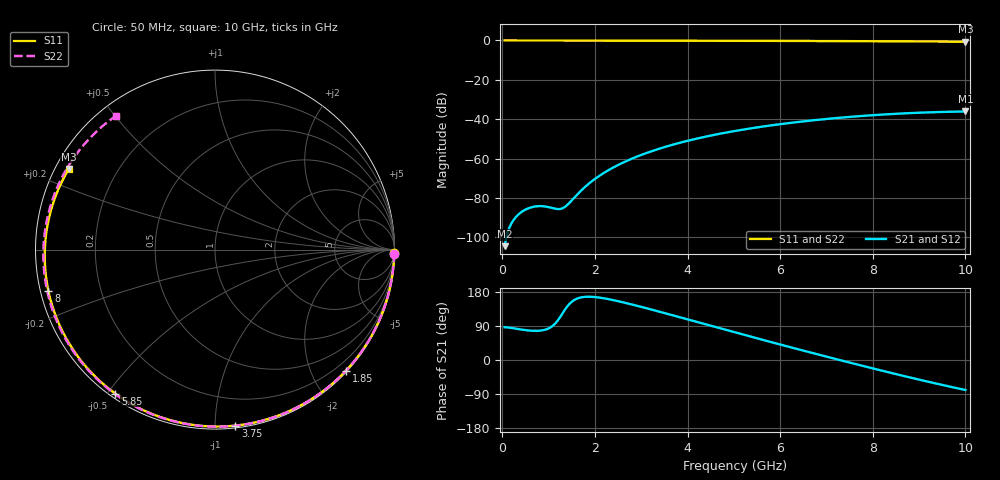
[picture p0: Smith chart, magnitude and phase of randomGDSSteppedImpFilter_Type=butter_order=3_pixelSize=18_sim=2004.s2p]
! freq	dB(S11)	phase(S11)	dB(S12)	phase(S12)
!  dB(S21)	phase(S21)	dB(S22)	phase(S22)
!S-par simulation data
#  GHz  S  DB  R 50
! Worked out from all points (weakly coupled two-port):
!   200 points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, 50 MHz to 10 GHz, reference 50 ohm
!   highest |S21| = -36.05 dB at 10 GHz (marker M1); lowest = -104.4 dB at 50 MHz (marker M2)
!   lowest |S11| = -0.6 dB at 10 GHz (marker M3), VSWR 27.70, Z = 1.93 + j12.9 ohm
!   |S11| at or under -10 dB: nowhere
!   |S22| runs from -0.7 to 0.0 dB; largest |S21 - S12| = 0
!   S11 on the Smith chart (normalised r, x): 50 MHz: open; 1.85 GHz: 0.02, -2.56; 3.75 GHz: 0.01, -1.12; 5.85 GHz: 0.02, -0.52; 8 GHz: 0.02, -0.12; 10 GHz: 0.04, +0.26
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0.05  -0.00 -1.1  -104.44 86.5  -104.44 86.5  -0.00 -1.3
0.75  -0.02 -17.5  -84.18 77.0  -84.18 77.0  -0.03 -19.9
1.15  -0.03 -26.8  -85.44 97.3  -85.44 97.3  -0.04 -30.3
1.55  -0.05 -35.9  -79.91 158.0  -79.91 158.0  -0.05 -40.6
1.75  -0.05 -40.4  -75.15 166.2  -75.15 166.2  -0.06 -45.7
1.85  -0.05 -42.7  -73.07 167.0  -73.07 167.0  -0.06 -48.2
2.15  -0.06 -49.4  -67.90 163.7  -67.90 163.7  -0.07 -55.7
2.5  -0.07 -57.0  -63.24 155.3  -63.24 155.3  -0.08 -64.2
2.9  -0.08 -65.6  -59.04 143.4  -59.04 143.4  -0.09 -73.8
3.4  -0.10 -76.2  -54.88 127.2  -54.88 127.2  -0.11 -85.5
3.75  -0.11 -83.4  -52.48 115.6  -52.48 115.6  -0.12 -93.4
4.4  -0.14 -96.5  -48.79 93.8  -48.79 93.8  -0.15 -107.8
5.05  -0.17 -109.3  -45.85 72.1  -45.85 72.1  -0.18 -121.8
5.85  -0.21 -124.7  -42.97 45.7  -42.97 45.7  -0.23 -138.6
6.7  -0.27 -140.9  -40.57 18.4  -40.57 18.4  -0.29 -156.4
7.35  -0.33 -153.3  -39.11 -2.1  -39.11 -2.1  -0.35 -170.2
8  -0.39 -166.0  -37.94 -22.2  -37.94 -22.2  -0.41 175.5
8.35  -0.43 -173.1  -37.42 -32.7  -37.42 -32.7  -0.45 167.6
8.8  -0.48 177.7  -36.88 -46.0  -36.88 -46.0  -0.50 157.1
9.2  -0.52 169.1  -36.51 -57.5  -36.51 -57.5  -0.55 147.3
9.6  -0.58 160.3  -36.24 -68.5  -36.24 -68.5  -0.60 137.1
10  -0.63 151.1  -36.05 -79.1  -36.05 -79.1  -0.65 126.4
